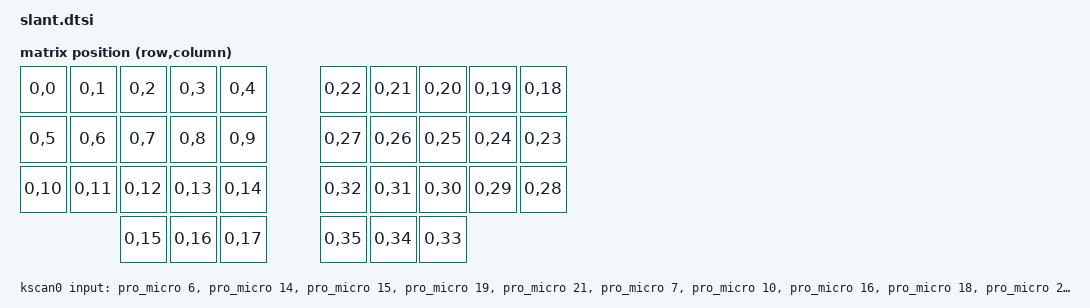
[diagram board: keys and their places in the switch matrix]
#include <dt-bindings/zmk/matrix_transform.h>

/ {
    chosen {
        zmk,kscan = &kscan0;
        zmk,matrix_transform = &default_transform;
    };

    default_transform: keymap_transform_0 {
        compatible = "zmk,matrix-transform";
        columns = <36>;
        rows = <1>;
// | SW01 | SW02 | SW03 | SW04 | SW05 |                 | SW06 | SW07 | SW08 | SW09 | SW10 |
// | SW11 | SW12 | SW13 | SW14 | SW15 |                 | SW16 | SW17 | SW18 | SW19 | SW20 |
// | SW21 | SW22 | SW23 | SW24 | SW25 |                 | SW26 | SW27 | SW28 | SW29 | SW30 |
//                      | SW31 | SW32 | SW33 |   | SW34 | SW35 | SW36 |
        map = <
RC(0, 0) RC(0, 1) RC(0, 2) RC(0, 3) RC(0, 4)                   RC(0,22) RC(0,21) RC(0,20) RC(0,19) RC(0,18)
RC(0, 5) RC(0, 6) RC(0, 7) RC(0, 8) RC(0, 9)                   RC(0,27) RC(0,26) RC(0,25) RC(0,24) RC(0,23)
RC(0,10) RC(0,11) RC(0,12) RC(0,13) RC(0,14)                   RC(0,32) RC(0,31) RC(0,30) RC(0,29) RC(0,28)
                           RC(0,15) RC(0,16) RC(0,17) RC(0,35) RC(0,34) RC(0,33)
        >;
    };

    kscan0: kscan {
        compatible = "zmk,kscan-gpio-direct";
        label = "KSCAN";
        input-gpios
		= <&pro_micro  6 (GPIO_ACTIVE_LOW | GPIO_PULL_UP)> // pinky top
		, <&pro_micro 14 (GPIO_ACTIVE_LOW | GPIO_PULL_UP)> // ring top
		, <&pro_micro 15 (GPIO_ACTIVE_LOW | GPIO_PULL_UP)> // middle top
		, <&pro_micro 19 (GPIO_ACTIVE_LOW | GPIO_PULL_UP)> // index top
		, <&pro_micro 21 (GPIO_ACTIVE_LOW | GPIO_PULL_UP)> // inner top
		, <&pro_micro  7 (GPIO_ACTIVE_LOW | GPIO_PULL_UP)> // pinky home
		, <&pro_micro 10 (GPIO_ACTIVE_LOW | GPIO_PULL_UP)> // ring home
		, <&pro_micro 16 (GPIO_ACTIVE_LOW | GPIO_PULL_UP)> // middle home
		, <&pro_micro 18 (GPIO_ACTIVE_LOW | GPIO_PULL_UP)> // index home
		, <&pro_micro 20 (GPIO_ACTIVE_LOW | GPIO_PULL_UP)> // inner home
		, <&pro_micro  8 (GPIO_ACTIVE_LOW | GPIO_PULL_UP)> // pinky bottom
		, <&pro_micro  9 (GPIO_ACTIVE_LOW | GPIO_PULL_UP)> // ring bottom
		, <&pro_micro  5 (GPIO_ACTIVE_LOW | GPIO_PULL_UP)> // middle bottom
		, <&pro_micro  4 (GPIO_ACTIVE_LOW | GPIO_PULL_UP)> // index bottom
		, <&pro_micro  3 (GPIO_ACTIVE_LOW | GPIO_PULL_UP)> // inner bottom
		, <&pro_micro  2 (GPIO_ACTIVE_LOW | GPIO_PULL_UP)> // thumb left
		, <&pro_micro  0 (GPIO_ACTIVE_LOW | GPIO_PULL_UP)> // thumb mid
		, <&pro_micro  1 (GPIO_ACTIVE_LOW | GPIO_PULL_UP)> // thumb right
		;
    };
};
